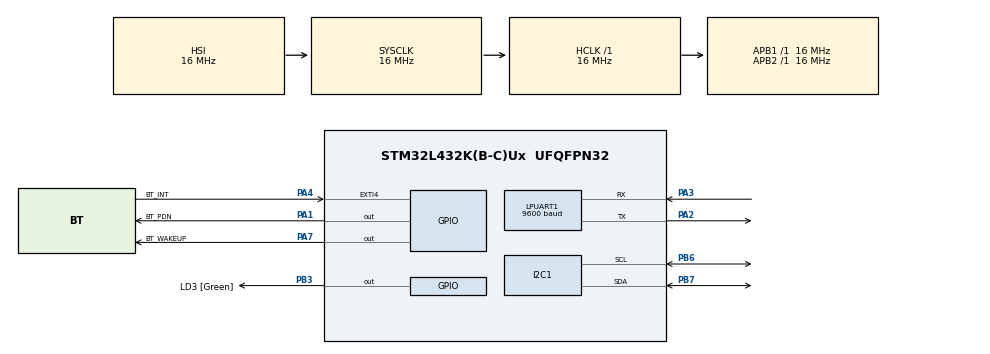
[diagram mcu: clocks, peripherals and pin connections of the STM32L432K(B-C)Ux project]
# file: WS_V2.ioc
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I2C1.Timing=0x00303D5B
LPUART1.BaudRate=9600
LPUART1.WordLength=UART_WORDLENGTH_8B
Mcu.Family=STM32L4
Mcu.Name=STM32L432K(B-C)Ux
Mcu.Package=UFQFPN32
NVIC.EXTI4_IRQn=true\:3\:0\:true\:false\:true\:true\:true
NVIC.PriorityGroup=NVIC_PRIORITYGROUP_4
NVIC.RTC_WKUP_IRQn=true\:5\:0\:true\:false\:true\:true\:true
PA0.GPIO_Label=MCO [High speed clock in]
PA0.Mode=HSE-External-Clock-Source-for-LittleOrca
PA0.Signal=RCC_CK_IN
PA1.GPIO_Label=BT_PDN
PA1.Signal=GPIO_Output
PA13\ (JTMS-SWDIO).GPIO_Label=SWDIO
PA13\ (JTMS-SWDIO).Mode=Serial_Wire
PA13\ (JTMS-SWDIO).Signal=SYS_JTMS-SWDIO
PA14\ (JTCK-SWCLK).GPIO_Label=SWCLK
PA14\ (JTCK-SWCLK).Mode=Serial_Wire
PA14\ (JTCK-SWCLK).Signal=SYS_JTCK-SWCLK
PA2.Mode=Asynchronous
PA2.Signal=LPUART1_TX
PA3.Mode=Asynchronous
PA3.Signal=LPUART1_RX
PA4.GPIO_Label=BT_INT
PA4.GPIO_ModeDefaultEXTI=GPIO_MODE_IT_FALLING
PA4.Signal=GPXTI4
PA7.GPIO_Label=BT_WAKEUP
PA7.Signal=GPIO_Output
PB3\ (JTDO-TRACESWO).GPIO_Label=LD3 [Green]
PB3\ (JTDO-TRACESWO).Signal=GPIO_Output
PB6.Mode=I2C
PB6.Signal=I2C1_SCL
PB7.Mode=I2C
PB7.Signal=I2C1_SDA
PC14-OSC32_IN\ (PC14).Mode=LSE-External-Oscillator
PC14-OSC32_IN\ (PC14).Signal=RCC_OSC32_IN
PC15-OSC32_OUT\ (PC15).Mode=LSE-External-Oscillator
PC15-OSC32_OUT\ (PC15).Signal=RCC_OSC32_OUT
ProjectManager.HeapSize=0x200
ProjectManager.StackSize=0x400
ProjectManager.TargetToolchain=STM32CubeIDE
RCC.AHBFreq_Value=16000000
RCC.APB1Freq_Value=16000000
RCC.APB1TimFreq_Value=16000000
RCC.APB2Freq_Value=16000000
RCC.APB2TimFreq_Value=16000000
RCC.CortexFreq_Value=16000000
RCC.HCLKFreq_Value=16000000
RCC.HSE_VALUE=8000000
RCC.HSI16_VALUE=16000000
RCC.HSI48_VALUE=48000000
RCC.HSI_VALUE=16000000
RCC.I2C1CLockSelection=RCC_I2C1CLKSOURCE_HSI
RCC.LPUART1CLockSelection=RCC_LPUART1CLKSOURCE_LSE
RCC.MSI_VALUE=4000000
RCC.PLLMUL=RCC_PLLMUL_4
RCC.PLLN=16
RCC.SYSCLKFreq_VALUE=16000000
RCC.SYSCLKSource=RCC_SYSCLKSOURCE_HSI
RCC.VCOOutputFreq_Value=64000000
RTC.WakeUpClock=RTC_WAKEUPCLOCK_CK_SPRE_16BITS
RTC.WakeUpCounter=10
VP_RTC_VS_RTC_Activate.Mode=RTC_Enabled
VP_RTC_VS_RTC_WakeUp_intern.Mode=WakeUp
board=NUCLEO-L432KC

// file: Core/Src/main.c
/* USER CODE BEGIN Header */
/**
 ******************************************************************************
 * @file           : main.c
 * @brief          : Main program body
 ******************************************************************************
 * @attention
 *
 * <h2><center>&copy; Copyright (c) 2021 STMicroelectronics.
 * All rights reserved.</center></h2>
 *
 * This software component is licensed by ST under BSD 3-Clause license,
 * the "License"; You may not use this file except in compliance with the
 * License. You may obtain a copy of the License at:
 *                        opensource.org/licenses/BSD-3-Clause
 *
 ******************************************************************************
 */
/* USER CODE END Header */
#include "main.h"
#include "i2c.h"
#include "usart.h"
#include "rtc.h"
#include "gpio.h"

/* USER CODE BEGIN Includes */
#include <string.h>
#include <stdio.h>
#include "bh1750.h"
#include "bme280.h"
#include "hm-bt4502.h"
/* USER CODE END Includes */

/* USER CODE BEGIN PD */
#define BLE_RxTableLen 20
#define BLE_TxTableLen 50
/* USER CODE END PD */

/* USER CODE BEGIN PV */
// RTC variables
uint8_t RTC_interrupt = 0;

// BLE variables
uint8_t BLE_interrupt = 0;
uint16_t BLE_RxLen;
uint8_t BLE_RxTable[BLE_RxTableLen];
uint16_t BLE_TxLen;
uint8_t BLE_TxTable[BLE_TxTableLen];
uint8_t BLE_connected = 0;

// sensor variables
bme280_t bme;
bh1750_t bh;
/* USER CODE END PV */

void SystemClock_Config(void);
/* USER CODE BEGIN PFP */
void LED_Blink(uint8_t blinsk,uint16_t interval);
/* USER CODE END PFP */

int main(void)
{

  /* MCU Configuration--------------------------------------------------------*/

  /* Reset of all peripherals, Initializes the Flash interface and the Systick. */
  HAL_Init();

  /* Configure the system clock */
  SystemClock_Config();

  /* Initialize all configured peripherals */
  MX_GPIO_Init();
  MX_I2C1_Init();
  MX_LPUART1_UART_Init();
  MX_RTC_Init();
  /* USER CODE BEGIN 2 */

	bme.i2c = &hi2c1;

	bme.filter = BME280_FILTER_OFF;
	bme.temp_oversampling = BME280_TEMPERATURE_OVER_1;
	bme.press_oversampling = BME280_PRESSURE_OVER_1;
	bme.hum_oversampling = BME280_HUMIDITY_OVER_1;
	bme.work_mode = BME280_NORMAL_MODE;
	bme.standby_time = BME280_STANDBY_20;

	bh.i2c = &hi2c1;
	bh.work_mode = BH1750_ONE_H_RES2_MODE;

	BME280_Init(&bme);
	bh1750_init(&bh);

	btInit();	// initialize ble pins and reset module
	memset((void*) BLE_RxTable, '\0', sizeof(BLE_RxTable));

	LED_Blink(1, 400);

	BME280_ReadAll(&bme);
	bh1750_ReadMeasurement(&bh);

	LED_Blink(1, 400);

	HAL_RTCEx_SetWakeUpTimer_IT(&hrtc, 10, RTC_WAKEUPCLOCK_CK_SPRE_16BITS);

  /* USER CODE END 2 */

  /* Infinite loop */
  /* USER CODE BEGIN WHILE */
	while (1) {

		if (BLE_interrupt == 1) {
			BLE_interrupt = 0;
			if (strcmp((char*) BLE_RxTable, (char*) "TTM:CONNECT\r\n") == 0) {
				BLE_connected = 1;
				LED_Blink(3, 200);
				if (BLE_connected == 1) {
					BME280_ReadAll(&bme);
					bh1750_ReadMeasurement(&bh);

					memcpy((uint8_t*)BLE_TxTable, &bme.temp, 4);
					memcpy((uint8_t*)BLE_TxTable + 4, &bme.hum, 4);
					memcpy((uint8_t*)BLE_TxTable + 8, &bme.press, 4);
					memcpy((uint8_t*)BLE_TxTable + 12, &bh.lx, 4);

					//BLE_TxLen = sprintf((char*) BLE_TxTable, "T:%.2f H:%.2f P:%.2f L:%.2f\n", bme.temp, bme.hum, bme.press, bh.lx);
					HAL_Delay(1000);
					// send and go to sleep

					btSend((uint8_t*) BLE_TxTable, 16);
					memset((void*) BLE_TxTable, 0, sizeof(BLE_TxTable));
					HAL_Delay(1000);
					btSleep();

					BLE_connected = 0;
				}

				HAL_RTCEx_SetWakeUpTimer_IT(&hrtc, 60, RTC_WAKEUPCLOCK_CK_SPRE_16BITS);

			} else if (strcmp((char*) BLE_RxTable, (char*) "TTM:DISCONNECT\r\n") == 0) {
				BLE_connected = 0;
				LED_Blink(2, 200);
			} else if (strcmp((char*) BLE_RxTable, (char*) "TTM:DISCONNECT FOR TIMEOUT\r\n") == 0) {
				LED_Blink(1, 500);
				NVIC_SystemReset();

			}
			memset((void*) BLE_RxTable, 0, sizeof(BLE_RxTable));
		}

		if (RTC_interrupt == 1) {
			RTC_interrupt = 0;

			if (btGetState() == GPIO_PIN_SET) {
				// if BT module is in sleep wake it up and set timer for 10 seconds
				btWakeup();
				HAL_RTCEx_SetWakeUpTimer_IT(&hrtc, 10, RTC_WAKEUPCLOCK_CK_SPRE_16BITS);

			} else {
				//else wait for 1 min for next connection cycle
				BLE_connected = 0;
				btSleep();
				HAL_RTCEx_SetWakeUpTimer_IT(&hrtc, 60, RTC_WAKEUPCLOCK_CK_SPRE_16BITS);
			}

		}
		//HAL_GPIO_TogglePin(LD3_GPIO_Port, LD3_Pin);
    /* USER CODE END WHILE */

    /* USER CODE BEGIN 3 */

		HAL_SuspendTick();
		HAL_PWREx_EnterSTOP2Mode(PWR_STOPENTRY_WFI);
	}
  /* USER CODE END 3 */
}

void SystemClock_Config(void)
{
  RCC_OscInitTypeDef RCC_OscInitStruct = {0};
  RCC_ClkInitTypeDef RCC_ClkInitStruct = {0};

  /** Configure the main internal regulator output voltage
  */
  if (HAL_PWREx_ControlVoltageScaling(PWR_REGULATOR_VOLTAGE_SCALE1) != HAL_OK)
  {
    Error_Handler();
  }
  /** Configure LSE Drive Capability
  */
  HAL_PWR_EnableBkUpAccess();
  __HAL_RCC_LSEDRIVE_CONFIG(RCC_LSEDRIVE_LOW);
  /** Initializes the RCC Oscillators according to the specified parameters
  * in the RCC_OscInitTypeDef structure.
  */
  RCC_OscInitStruct.OscillatorType = RCC_OSCILLATORTYPE_HSI|RCC_OSCILLATORTYPE_LSI
                              |RCC_OSCILLATORTYPE_LSE;
  RCC_OscInitStruct.LSEState = RCC_LSE_ON;
  RCC_OscInitStruct.HSIState = RCC_HSI_ON;
  RCC_OscInitStruct.HSICalibrationValue = RCC_HSICALIBRATION_DEFAULT;
  RCC_OscInitStruct.LSIState = RCC_LSI_ON;
  RCC_OscInitStruct.PLL.PLLState = RCC_PLL_NONE;
  if (HAL_RCC_OscConfig(&RCC_OscInitStruct) != HAL_OK)
  {
    Error_Handler();
  }
  /** Initializes the CPU, AHB and APB buses clocks
  */
  RCC_ClkInitStruct.ClockType = RCC_CLOCKTYPE_HCLK|RCC_CLOCKTYPE_SYSCLK
                              |RCC_CLOCKTYPE_PCLK1|RCC_CLOCKTYPE_PCLK2;
  RCC_ClkInitStruct.SYSCLKSource = RCC_SYSCLKSOURCE_HSI;
  RCC_ClkInitStruct.AHBCLKDivider = RCC_SYSCLK_DIV1;
  RCC_ClkInitStruct.APB1CLKDivider = RCC_HCLK_DIV1;
  RCC_ClkInitStruct.APB2CLKDivider = RCC_HCLK_DIV1;

  if (HAL_RCC_ClockConfig(&RCC_ClkInitStruct, FLASH_LATENCY_0) != HAL_OK)
  {
    Error_Handler();
  }
}

/* USER CODE BEGIN 4 */
void HAL_RTCEx_WakeUpTimerEventCallback(RTC_HandleTypeDef *hrtc) {
	SystemClock_Config();
	HAL_ResumeTick();
	HAL_RTCEx_DeactivateWakeUpTimer(hrtc);
	RTC_interrupt = 1;
}

void HAL_GPIO_EXTI_Callback(uint16_t GPIO_Pin) {
	SystemClock_Config();
	HAL_ResumeTick();
	if (GPIO_Pin == BT_INT_Pin) {
		HAL_UARTEx_ReceiveToIdle(&hlpuart1, (uint8_t*) BLE_RxTable,
				BLE_RxTableLen, &BLE_RxLen, 30);
		if (BLE_RxLen > 0) { // set flag only if received something
			BLE_interrupt = 1;
		}
	}
}

void LED_Blink(uint8_t blinsk,uint16_t interval) {
	for (uint8_t i = 0; i < blinsk; i++) {
		HAL_GPIO_WritePin(LD3_GPIO_Port, LD3_Pin, GPIO_PIN_SET);
		HAL_Delay(interval>>1);
		HAL_GPIO_WritePin(LD3_GPIO_Port, LD3_Pin, GPIO_PIN_RESET);
		HAL_Delay(interval>>1);
	}

}

/* USER CODE END 4 */

void Error_Handler(void)
{
	__disable_irq();
	while (1) {
	}
}

/************************ (C) COPYRIGHT STMicroelectronics *****END OF FILE****/
